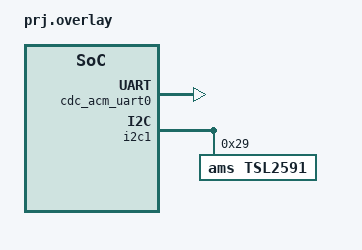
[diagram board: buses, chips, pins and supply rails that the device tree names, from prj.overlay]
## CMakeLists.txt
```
# SPDX-License-Identifier: Apache-2.0

cmake_minimum_required(VERSION 3.20.0)

set(DTC_OVERLAY_FILE prj.overlay)

find_package(Zephyr REQUIRED HINTS $ENV{ZEPHYR_BASE})

project(adafruit_qt_py_rp2040-tsl2591)

target_sources(app PRIVATE src/main.c)
```

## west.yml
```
manifest:
  remotes:
    - name: zephyrproject-rtos
      url-base: https://github.com/zephyrproject-rtos

  projects:
    - name: zephyr
      remote: zephyrproject-rtos
      revision: main
      path: zephyr
      west-commands: scripts/west-commands.yml
      import:
        name-allowlist:
          - cmsis
          - cmsis_6
          - hal_rpi_pico
```

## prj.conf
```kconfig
CONFIG_GPIO=y
CONFIG_GPIO_HOGS=y
CONFIG_LED_STRIP=y

CONFIG_PRINTK=y
CONFIG_LOG=y
CONFIG_LOG_BACKEND_UART=y
CONFIG_BOOT_BANNER=y

CONFIG_USB_CDC_ACM=y
CONFIG_USB_DEVICE_STACK=y
CONFIG_USB_DEVICE_PRODUCT="adafruit_qt_py_rp2040-tsl2591"
CONFIG_USB_CDC_ACM_LOG_LEVEL_OFF=y
CONFIG_USB_DEVICE_PID=0x4508

CONFIG_I2C=y
CONFIG_SENSOR=y
CONFIG_SENSOR_LOG_LEVEL_DBG=y
CONFIG_TSL2591=y

CONFIG_JSON_LIBRARY=y
```

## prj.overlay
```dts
/*
 * Copyright (c) 2021 Nordic Semiconductor ASA
 *
 * SPDX-License-Identifier: Apache-2.0
 */

/ {
	chosen {
		zephyr,console = &cdc_acm_uart0;
	};
};

&zephyr_udc0 {
	cdc_acm_uart0: cdc_acm_uart0 {
		compatible = "zephyr,cdc-acm-uart";
	};
};

&i2c1 {
	tsl2591: tsl2591@29 {
		compatible = "ams,tsl2591";
		reg = <0x29>;
	};
};
```

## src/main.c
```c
/*
 * SPDX-License-Identifier: Apache-2.0
 */

#include <zephyr/drivers/led_strip.h>
#include <zephyr/device.h>
#include <zephyr/drivers/sensor.h>
#include <zephyr/usb/usb_device.h>
#include <zephyr/data/json.h>

#if DT_NODE_HAS_PROP(DT_ALIAS(led_strip), chain_length)
#define STRIP_NUM_PIXELS	DT_PROP(DT_ALIAS(led_strip), chain_length)
#else
#error Unable to determine length of LED strip
#endif

BUILD_ASSERT(DT_NODE_HAS_COMPAT(DT_CHOSEN(zephyr_console), zephyr_cdc_acm_uart), "Where is ACM CDC UART device");

static const struct device *const strip = DEVICE_DT_GET(DT_ALIAS(led_strip));
static const struct device *const uart = DEVICE_DT_GET(DT_CHOSEN(zephyr_console));
static const struct device *const tsl2591 = DEVICE_DT_GET(DT_NODELABEL(tsl2591));

int main(void) {
    int ret = 0;
    struct led_rgb color = {.r = 0x00, .g = 0x00, .b = 0x00};
    struct sensor_value value_all, value_light, value_ir;
    struct json_data {
        int32_t lux;
        int32_t visible;
        int32_t infrared;
    } json;
    static const struct json_obj_descr descr[] = {
        JSON_OBJ_DESCR_PRIM(struct json_data, lux, JSON_TOK_NUMBER),
        JSON_OBJ_DESCR_PRIM(struct json_data, visible, JSON_TOK_NUMBER),
        JSON_OBJ_DESCR_PRIM(struct json_data, infrared, JSON_TOK_NUMBER),
    };

    if (!device_is_ready(uart))
        return 0;

    if (usb_enable(NULL))
        return 0;

    if (!device_is_ready(strip))
        return 0;

    if (!device_is_ready(tsl2591))
        return 0;

    printk("%s\n", CONFIG_BOARD_TARGET);

    int64_t stamp = k_uptime_get();

    while (1) {

        /* Unfortunately, datasheet does not provide a lux conversion formula for this particular
         * device. There is still ongoing discussion about the proper formula, though this
         * implementation uses a slightly modified version of the Adafruit library formula:
         * https://github.com/adafruit/Adafruit_TSL2591_Library/
         *
         * Since the device relies on both visible and IR readings to calculate lux,
         * read SENSOR_CHAN_ALL to get a closer approximation of lux. Reading SENSOR_CHAN_LIGHT or
         * SENSOR_CHAN_IR individually can be more closely thought of as relative strength
         * as opposed to true lux.
         */
        ret = sensor_sample_fetch(tsl2591);
        if (ret) {
            printk("sensor_sample_fetch %d", ret);
            continue;
        }

        ret |= sensor_channel_get(tsl2591, SENSOR_CHAN_ALL, &value_all);
        ret |= sensor_channel_get(tsl2591, SENSOR_CHAN_LIGHT, &value_light);
        ret |= sensor_channel_get(tsl2591, SENSOR_CHAN_IR, &value_ir);
        if (ret) {
            printk("sensor_channel_get %d", ret);
            continue;
        }

        json.lux = value_all.val1;
        json.visible = value_light.val1;
        json.infrared = value_ir.val1;
        char buf[256] = {0};
        ret = json_obj_encode_buf(descr, ARRAY_SIZE(descr), &json, buf, sizeof(buf));
        if (ret != 0)
            printk("json error %d\n", ret);
        else
            printk("%s\n", buf);

        /*
         * Flash LED periodically to indicate the no errors have occurred.
         */
        int64_t delta = k_uptime_get() - stamp;
        if (delta > 1000)
            stamp = k_uptime_get();
        if (delta <= 900)
            color.g = 0x00;
        else if (delta <= 1000)
            color.g = 0x10;
        ret = led_strip_update_rgb(strip, &color, STRIP_NUM_PIXELS);
        if (ret)
            printk("led_strip_update_rgb %d", ret);

        k_sleep(K_MSEC(1));
	}

	return 0;
}
```
